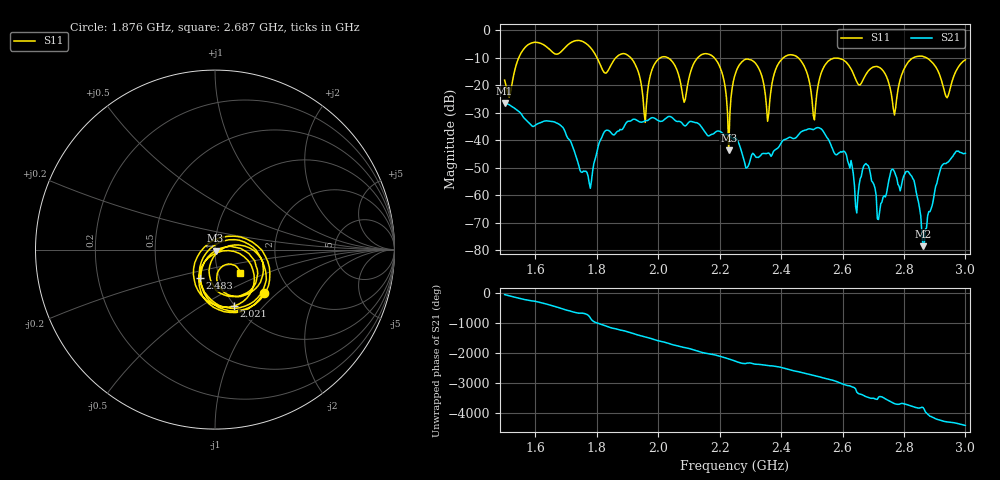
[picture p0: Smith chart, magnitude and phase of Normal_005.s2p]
# HZ S RI R 50
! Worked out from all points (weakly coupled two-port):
!   404 points, 1.5 GHz to 3 GHz, reference 50 ohm
!   highest |S21| = -26.43 dB at 1.5 GHz (marker M1); lowest = -78.6 dB at 2.862 GHz (marker M2)
!   lowest |S11| = -43.7 dB at 2.23 GHz (marker M3), VSWR 1.01, Z = 50.3 - j0.583 ohm
!   |S11| at or under -10 dB: 2.183 GHz to 2.407 GHz (224.6 MHz wide, 9.79 % of centre); 2.456 GHz to 2.83 GHz (373.7 MHz wide, 14.1 % of centre); 2.874 GHz to end of sweep (the widest 3 of 7)
!   S12 and S22 are empty: the file has one direction only
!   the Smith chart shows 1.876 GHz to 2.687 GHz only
!   S11 on the Smith chart (normalised r, x): 1.876 GHz: 1.47, -0.82; 2.021 GHz: 0.98, -0.70; 2.483 GHz: 0.81, -0.26; 2.687 GHz: 1.27, -0.34
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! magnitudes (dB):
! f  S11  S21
! 1.5 GHz  -18.1  -26.4
! 1.753 GHz  -4.0  -51.7
! 1.876 GHz  -8.8  -36.1
! 1.958 GHz  -33.5  -32.9
! 2.002 GHz  -10.3  -33.0
! 2.021 GHz  -9.6  -32.4
! 2.084 GHz  -26.2  -34.6
! 2.177 GHz  -9.5  -37.8
! 2.23 GHz  -43.7  -38.1
! 2.252 GHz  -15.6  -39.0
! 2.356 GHz  -33.1  -44.7
! 2.483 GHz  -15.0  -36.2
! 2.501 GHz  -25.9  -36.0
! 2.565 GHz  -10.4  -42.4
! 2.646 GHz  -18.7  -66.5
! 2.687 GHz  -14.4  -50.3
! 2.721 GHz  -13.5  -65.9
! 2.751 GHz  -19.2  -54.7
! 2.825 GHz  -10.3  -53.1
! 2.862 GHz  -9.5  -78.6
! 2.94 GHz  -24.5  -48.1
! 3 GHz  -10.7  -44.8
